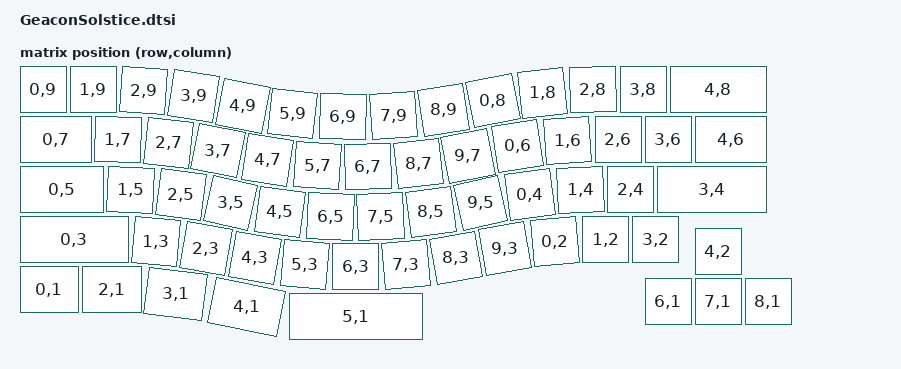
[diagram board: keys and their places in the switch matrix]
#include <dt-bindings/zmk/matrix_transform.h>
#include <physical_layouts.dtsi>

/ {
  chosen {
    zephyr,display = &oled;
    zmk,physical-layout = &geacon_physical_layout;
  };

  geacon_physical_layout: geacon_physical_layout {
      compatible = "zmk,physical-layout";
      display-name = "Default";
      transform = <&default_transform>;
      kscan = <&kscan0>;

      keys  //                     w   h    x    y     rot    rx    ry
          = <&key_physical_attrs 100 100    0    0       0     0     0>
          , <&key_physical_attrs 100 100  100    0       0     0     0>
          , <&key_physical_attrs 100 100  201    2     375   251    52>
          , <&key_physical_attrs 100 100  301   13     875   351    63>
          , <&key_physical_attrs 100 100  400   33    1125   450    83>
          , <&key_physical_attrs 100 100  499   48     625   549    98>
          , <&key_physical_attrs 100 100  600   54     125   650   104>
          , <&key_physical_attrs 100 100  701   52  (-375)   751   102>
          , <&key_physical_attrs 100 100  801   41  (-875)   851    91>
          , <&key_physical_attrs 100 100  900   22 (-1125)   950    72>
          , <&key_physical_attrs 100 100  999    7  (-625)  1049    57>
          , <&key_physical_attrs 100 100 1100    0  (-125)  1150    50>
          , <&key_physical_attrs 100 100 1200    0       0     0     0>
          , <&key_physical_attrs 200 100 1300    0       0     0     0>
          , <&key_physical_attrs 150 100    0  100       0     0     0>
          , <&key_physical_attrs 100 100  150  100     125   200   150>
          , <&key_physical_attrs 100 100  251  107     625   301   157>
          , <&key_physical_attrs 100 100  350  122    1125   400   172>
          , <&key_physical_attrs 100 100  449  141     875   499   191>
          , <&key_physical_attrs 100 100  549  152     375   599   202>
          , <&key_physical_attrs 100 100  650  154  (-125)   700   204>
          , <&key_physical_attrs 100 100  751  148  (-625)   801   198>
          , <&key_physical_attrs 100 100  850  133 (-1125)   900   183>
          , <&key_physical_attrs 100 100  949  113  (-875)   999   163>
          , <&key_physical_attrs 100 100 1049  102  (-375)  1099   152>
          , <&key_physical_attrs 100 100 1150  100       0     0     0>
          , <&key_physical_attrs 100 100 1250  100       0     0     0>
          , <&key_physical_attrs 150 100 1350  100       0     0     0>
          , <&key_physical_attrs 175 100    0  200       0     0     0>
          , <&key_physical_attrs 100 100  175  201     250   225   251>
          , <&key_physical_attrs 100 100  276  210     750   326   260>
          , <&key_physical_attrs 100 100  375  227    1250   425   277>
          , <&key_physical_attrs 100 100  474  245     750   524   295>
          , <&key_physical_attrs 100 100  575  254     250   625   304>
          , <&key_physical_attrs 100 100  675  254  (-250)   725   304>
          , <&key_physical_attrs 100 100  776  245  (-750)   826   295>
          , <&key_physical_attrs 100 100  875  227 (-1250)   925   277>
          , <&key_physical_attrs 100 100  974  210  (-750)  1024   260>
          , <&key_physical_attrs 100 100 1075  201  (-250)  1125   251>
          , <&key_physical_attrs 100 100 1175  200       0     0     0>
          , <&key_physical_attrs 225 100 1275  200       0     0     0>
          , <&key_physical_attrs 225 100    0  300       0     0     0>
          , <&key_physical_attrs 100 100  226  304     500   276   354>
          , <&key_physical_attrs 100 100  326  318    1000   376   368>
          , <&key_physical_attrs 100 100  424  337    1000   474   387>
          , <&key_physical_attrs 100 100  524  350     500   574   400>
          , <&key_physical_attrs 100 100  625  355       0     0     0>
          , <&key_physical_attrs 100 100  726  350  (-500)   776   400>
          , <&key_physical_attrs 100 100  826  337 (-1000)   876   387>
          , <&key_physical_attrs 100 100  924  318 (-1000)   974   368>
          , <&key_physical_attrs 100 100 1024  304  (-500)  1074   354>
          , <&key_physical_attrs 100 100 1125  300       0     0     0>
          , <&key_physical_attrs 100 100 1225  300       0     0     0>
          , <&key_physical_attrs 100 100 1350  325       0     0     0>
          , <&key_physical_attrs 125 100    0  400       0     0     0>
          , <&key_physical_attrs 125 100  125  400       0     0     0>
          , <&key_physical_attrs 125 100  253  409     700   316   459>
          , <&key_physical_attrs 150 100  382  435    1195   457   485>
          , <&key_physical_attrs 275 100  538  454       0     0     0>
          , <&key_physical_attrs 100 100 1250  425       0     0     0>
          , <&key_physical_attrs 100 100 1350  425       0     0     0>
          , <&key_physical_attrs 100 100 1450  425       0     0     0>
          ;
    };
  
    kscan0: kscan {
      compatible = "zmk,kscan-gpio-charlieplex";
    };

    default_transform: keymap_transform_0 {
      compatible = "zmk,matrix-transform";
      columns = <9>;
      rows = <9>;

      map = <
        RC(0,9)   RC(1,9)   RC(2,9)   RC(3,9)   RC(4,9)   RC(5,9)   RC(6,9)   RC(7,9)   RC(8,9)   RC(0,8)   RC(1,8)   RC(2,8)   RC(3,8)      RC(4,8)
        RC(0,7)   RC(1,7)   RC(2,7)   RC(3,7)   RC(4,7)   RC(5,7)   RC(6,7)   RC(8,7)   RC(9,7)   RC(0,6)   RC(1,6)   RC(2,6)   RC(3,6)      RC(4,6)
        RC(0,5)   RC(1,5)   RC(2,5)   RC(3,5)   RC(4,5)   RC(6,5)   RC(7,5)   RC(8,5)   RC(9,5)   RC(0,4)   RC(1,4)   RC(2,4)   RC(3,4)   
        RC(0,3)   RC(1,3)   RC(2,3)   RC(4,3)   RC(5,3)   RC(6,3)   RC(7,3)   RC(8,3)   RC(9,3)   RC(0,2)   RC(1,2)   RC(3,2)                RC(4,2)
        RC(0,1)     RC(2,1)     RC(3,1)     RC(4,1)           RC(5,1)                                                              RC(6,1)   RC(7,1)   RC(8,1)
        >;
    };
};
